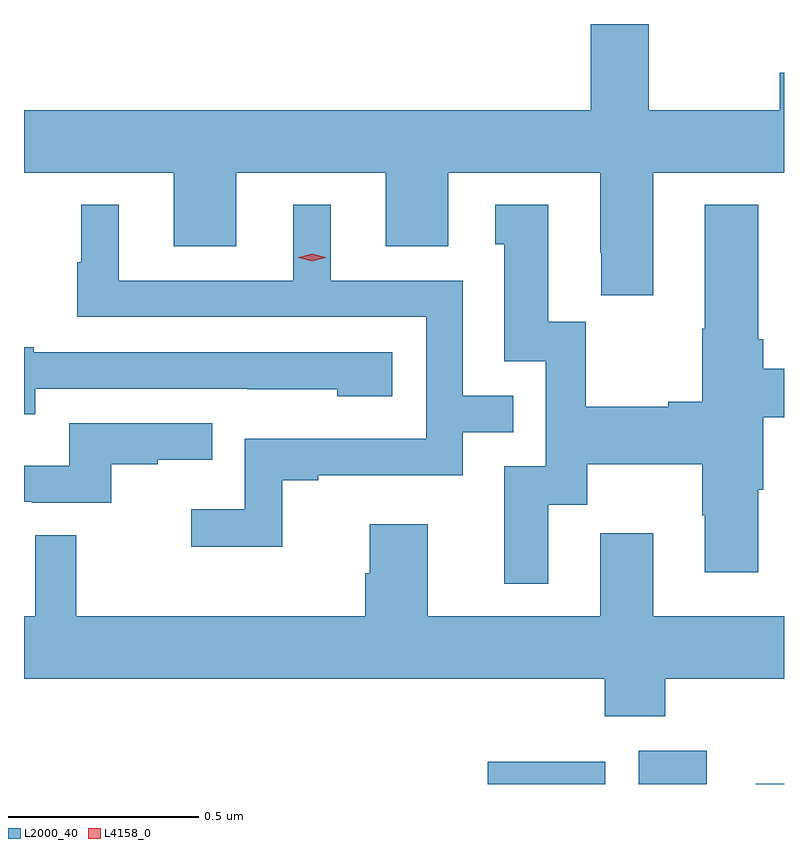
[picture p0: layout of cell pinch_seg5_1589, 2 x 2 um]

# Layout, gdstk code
import gdstk
lib = gdstk.Library(unit=1e-6, precision=1e-09)
def R(c, l, rs):  # rectangles x0, y0, x1, y1
    for r in rs: c.add(gdstk.rectangle(r[:2], r[2:], *l))
def P(c, l, *ps):  # polygons
    for p in ps: c.add(gdstk.Polygon(p, *l))
L2000_40 = (2000, 40)
L4158_0 = (4158, 0)

pinch_seg5_1589 = lib.new_cell('pinch_seg5_1589')
R(pinch_seg5_1589, L2000_40, [(253.725,840.499,254.034,840.558), (254.123,840.499,254.302,840.586), (254.43,840.499,254.505,840.5)])
P(pinch_seg5_1589, L2000_40, [(254.161,842.108),(254.505,842.108),(254.505,842.371),(254.494,842.371),(254.494,842.272),(254.149,842.272),(254.149,842.499),(253.997,842.499),(253.997,842.272),(252.505,842.272),(252.505,842.108),(252.899,842.108),(252.899,841.914),(253.063,841.914),(253.063,842.108),(253.457,842.108),(253.457,841.914),(253.621,841.914),(253.621,842.108),(254.021,842.108),(254.021,841.897),(254.024,841.897),(254.024,841.785),(254.161,841.785)],
  [(253.185,841.299),(253.279,841.299),(253.279,841.311),(253.659,841.311),(253.659,841.425),(253.793,841.425),(253.793,841.521),(253.659,841.521),(253.659,841.824),(253.312,841.824),(253.312,842.023),(253.214,842.023),(253.214,841.824),(252.754,841.824),(252.754,842.023),(252.656,842.023),(252.656,841.872),(252.645,841.872),(252.645,841.728),(253.563,841.728),(253.563,841.407),(253.086,841.407),(253.086,841.222),(252.945,841.222),(252.945,841.124),(253.185,841.124)],
  [(253.885,841.234),(253.987,841.234),(253.987,841.34),(254.29,841.34),(254.29,841.206),(254.297,841.206),(254.297,841.056),(254.437,841.056),(254.437,841.274),(254.45,841.274),(254.45,841.464),(254.505,841.464),(254.505,841.592),(254.45,841.592),(254.45,841.669),(254.437,841.669),(254.437,842.023),(254.297,842.023),(254.297,841.697),(254.29,841.697),(254.29,841.505),(254.201,841.505),(254.201,841.492),(253.983,841.492),(253.983,841.715),(253.885,841.715),(253.885,842.023),(253.745,842.023),(253.745,841.92),(253.769,841.92),(253.769,841.611),(253.878,841.611),(253.878,841.335),(253.769,841.335),(253.769,841.026),(253.885,841.026)],
  [(252.535,841.539),(253.093,841.539),(253.093,841.538),(253.329,841.538),(253.329,841.52),(253.474,841.52),(253.474,841.635),(252.531,841.635),(252.531,841.648),(252.505,841.648),(252.505,841.472),(252.535,841.472)],
  [(252.734,841.341),(252.857,841.341),(252.857,841.352),(253.001,841.352),(253.001,841.449),(252.624,841.449),(252.624,841.337),(252.505,841.337),(252.505,841.242),(252.526,841.242),(252.526,841.239),(252.734,841.239)],
  [(254.193,840.776),(254.505,840.776),(254.505,840.94),(254.161,840.94),(254.161,841.159),(254.021,841.159),(254.021,840.94),(253.567,840.94),(253.567,841.183),(253.415,841.183),(253.415,841.053),(253.403,841.053),(253.403,840.94),(252.643,840.94),(252.643,841.154),(252.534,841.154),(252.534,840.94),(252.505,840.94),(252.505,840.776),(254.033,840.776),(254.033,840.677),(254.193,840.677)])
P(pinch_seg5_1589, L4158_0, [(253.263,841.875),(253.228,841.884),(253.227,841.885),(253.228,841.885),(253.263,841.895),(253.298,841.885),(253.299,841.885),(253.298,841.884)])

lib.write_gds('pinch_seg5_1589.gds')
